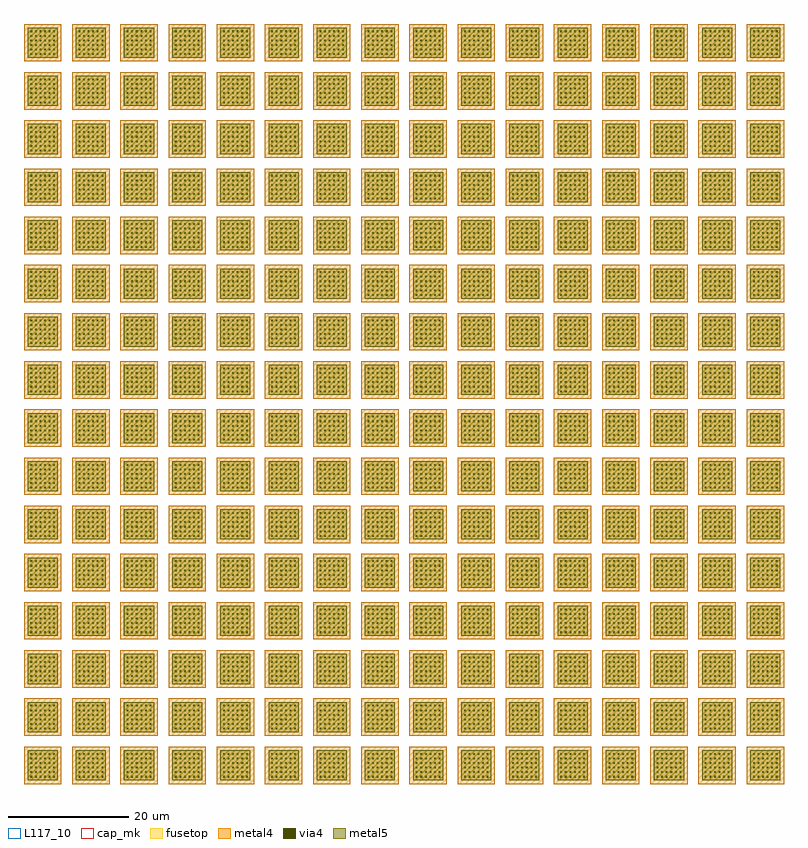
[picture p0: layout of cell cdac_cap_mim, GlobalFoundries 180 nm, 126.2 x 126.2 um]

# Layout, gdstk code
import gdstk
lib = gdstk.Library(unit=1e-6, precision=1e-09)
def R(c, l, rs):  # rectangles x0, y0, x1, y1
    for r in rs: c.add(gdstk.rectangle(r[:2], r[2:], *l))
def A(c, l, x, y, w, h, nx, ny, dx, dy):  # array of equal rectangles
    R(c, l, [(x+i*dx, y+j*dy, x+i*dx+w, y+j*dy+h) for i in range(nx) for j in range(ny)])
via4 = (41, 0)
metal4 = (46, 0)
fusetop = (75, 0)
metal5 = (81, 0)
cap_mk = (117, 5)
L117_10 = (117, 10)

gf180mcu_cap_mim_l_10_00 = lib.new_cell('gf180mcu.cap_mim(L=10.000,W=10.000)')

cdac_cap_mim = lib.new_cell('cdac_cap_mim')
A(cdac_cap_mim, via4, 208.24, 137.25, 0.26, 0.26, 6, 6, 0.76, 0.76)
A(cdac_cap_mim, via4, 216.24, 137.25, 0.26, 0.26, 6, 6, 0.76, 0.76)
A(cdac_cap_mim, via4, 224.24, 137.25, 0.26, 0.26, 6, 6, 0.76, 0.76)
A(cdac_cap_mim, via4, 232.24, 137.25, 0.26, 0.26, 6, 6, 0.76, 0.76)
A(cdac_cap_mim, via4, 240.24, 137.25, 0.26, 0.26, 6, 6, 0.76, 0.76)
A(cdac_cap_mim, via4, 248.24, 137.25, 0.26, 0.26, 6, 6, 0.76, 0.76)
A(cdac_cap_mim, via4, 256.24, 137.25, 0.26, 0.26, 6, 6, 0.76, 0.76)
A(cdac_cap_mim, via4, 264.24, 137.25, 0.26, 0.26, 6, 6, 0.76, 0.76)
A(cdac_cap_mim, via4, 272.24, 137.25, 0.26, 0.26, 6, 6, 0.76, 0.76)
A(cdac_cap_mim, via4, 280.24, 137.25, 0.26, 0.26, 6, 6, 0.76, 0.76)
A(cdac_cap_mim, via4, 288.24, 137.25, 0.26, 0.26, 6, 6, 0.76, 0.76)
A(cdac_cap_mim, via4, 296.24, 137.25, 0.26, 0.26, 6, 6, 0.76, 0.76)
A(cdac_cap_mim, via4, 304.24, 137.25, 0.26, 0.26, 6, 6, 0.76, 0.76)
A(cdac_cap_mim, via4, 312.24, 137.25, 0.26, 0.26, 6, 6, 0.76, 0.76)
A(cdac_cap_mim, via4, 320.24, 137.25, 0.26, 0.26, 6, 6, 0.76, 0.76)
A(cdac_cap_mim, via4, 328.24, 137.25, 0.26, 0.26, 6, 6, 0.76, 0.76)
A(cdac_cap_mim, via4, 208.24, 145.25, 0.26, 0.26, 6, 6, 0.76, 0.76)
A(cdac_cap_mim, via4, 216.24, 145.25, 0.26, 0.26, 6, 6, 0.76, 0.76)
A(cdac_cap_mim, via4, 224.24, 145.25, 0.26, 0.26, 6, 6, 0.76, 0.76)
A(cdac_cap_mim, via4, 232.24, 145.25, 0.26, 0.26, 6, 6, 0.76, 0.76)
A(cdac_cap_mim, via4, 240.24, 145.25, 0.26, 0.26, 6, 6, 0.76, 0.76)
A(cdac_cap_mim, via4, 248.24, 145.25, 0.26, 0.26, 6, 6, 0.76, 0.76)
A(cdac_cap_mim, via4, 256.24, 145.25, 0.26, 0.26, 6, 6, 0.76, 0.76)
A(cdac_cap_mim, via4, 264.24, 145.25, 0.26, 0.26, 6, 6, 0.76, 0.76)
A(cdac_cap_mim, via4, 272.24, 145.25, 0.26, 0.26, 6, 6, 0.76, 0.76)
A(cdac_cap_mim, via4, 280.24, 145.25, 0.26, 0.26, 6, 6, 0.76, 0.76)
A(cdac_cap_mim, via4, 288.24, 145.25, 0.26, 0.26, 6, 6, 0.76, 0.76)
A(cdac_cap_mim, via4, 296.24, 145.25, 0.26, 0.26, 6, 6, 0.76, 0.76)
A(cdac_cap_mim, via4, 304.24, 145.25, 0.26, 0.26, 6, 6, 0.76, 0.76)
A(cdac_cap_mim, via4, 312.24, 145.25, 0.26, 0.26, 6, 6, 0.76, 0.76)
A(cdac_cap_mim, via4, 320.24, 145.25, 0.26, 0.26, 6, 6, 0.76, 0.76)
A(cdac_cap_mim, via4, 328.24, 145.25, 0.26, 0.26, 6, 6, 0.76, 0.76)
A(cdac_cap_mim, via4, 208.24, 153.25, 0.26, 0.26, 6, 6, 0.76, 0.76)
A(cdac_cap_mim, via4, 216.24, 153.25, 0.26, 0.26, 6, 6, 0.76, 0.76)
A(cdac_cap_mim, via4, 224.24, 153.25, 0.26, 0.26, 6, 6, 0.76, 0.76)
A(cdac_cap_mim, via4, 232.24, 153.25, 0.26, 0.26, 6, 6, 0.76, 0.76)
A(cdac_cap_mim, via4, 240.24, 153.25, 0.26, 0.26, 6, 6, 0.76, 0.76)
A(cdac_cap_mim, via4, 248.24, 153.25, 0.26, 0.26, 6, 6, 0.76, 0.76)
A(cdac_cap_mim, via4, 256.24, 153.25, 0.26, 0.26, 6, 6, 0.76, 0.76)
A(cdac_cap_mim, via4, 264.24, 153.25, 0.26, 0.26, 6, 6, 0.76, 0.76)
A(cdac_cap_mim, via4, 272.24, 153.25, 0.26, 0.26, 6, 6, 0.76, 0.76)
A(cdac_cap_mim, via4, 280.24, 153.25, 0.26, 0.26, 6, 6, 0.76, 0.76)
A(cdac_cap_mim, via4, 288.24, 153.25, 0.26, 0.26, 6, 6, 0.76, 0.76)
A(cdac_cap_mim, via4, 296.24, 153.25, 0.26, 0.26, 6, 6, 0.76, 0.76)
A(cdac_cap_mim, via4, 304.24, 153.25, 0.26, 0.26, 6, 6, 0.76, 0.76)
A(cdac_cap_mim, via4, 312.24, 153.25, 0.26, 0.26, 6, 6, 0.76, 0.76)
A(cdac_cap_mim, via4, 320.24, 153.25, 0.26, 0.26, 6, 6, 0.76, 0.76)
A(cdac_cap_mim, via4, 328.24, 153.25, 0.26, 0.26, 6, 6, 0.76, 0.76)
A(cdac_cap_mim, via4, 208.24, 161.25, 0.26, 0.26, 6, 6, 0.76, 0.76)
A(cdac_cap_mim, via4, 216.24, 161.25, 0.26, 0.26, 6, 6, 0.76, 0.76)
A(cdac_cap_mim, via4, 224.24, 161.25, 0.26, 0.26, 6, 6, 0.76, 0.76)
A(cdac_cap_mim, via4, 232.24, 161.25, 0.26, 0.26, 6, 6, 0.76, 0.76)
A(cdac_cap_mim, via4, 240.24, 161.25, 0.26, 0.26, 6, 6, 0.76, 0.76)
A(cdac_cap_mim, via4, 248.24, 161.25, 0.26, 0.26, 6, 6, 0.76, 0.76)
A(cdac_cap_mim, via4, 256.24, 161.25, 0.26, 0.26, 6, 6, 0.76, 0.76)
A(cdac_cap_mim, via4, 264.24, 161.25, 0.26, 0.26, 6, 6, 0.76, 0.76)
A(cdac_cap_mim, via4, 272.24, 161.25, 0.26, 0.26, 6, 6, 0.76, 0.76)
A(cdac_cap_mim, via4, 280.24, 161.25, 0.26, 0.26, 6, 6, 0.76, 0.76)
A(cdac_cap_mim, via4, 288.24, 161.25, 0.26, 0.26, 6, 6, 0.76, 0.76)
A(cdac_cap_mim, via4, 296.24, 161.25, 0.26, 0.26, 6, 6, 0.76, 0.76)
A(cdac_cap_mim, via4, 304.24, 161.25, 0.26, 0.26, 6, 6, 0.76, 0.76)
A(cdac_cap_mim, via4, 312.24, 161.25, 0.26, 0.26, 6, 6, 0.76, 0.76)
A(cdac_cap_mim, via4, 320.24, 161.25, 0.26, 0.26, 6, 6, 0.76, 0.76)
A(cdac_cap_mim, via4, 328.24, 161.25, 0.26, 0.26, 6, 6, 0.76, 0.76)
A(cdac_cap_mim, via4, 208.24, 169.25, 0.26, 0.26, 6, 6, 0.76, 0.76)
A(cdac_cap_mim, via4, 216.24, 169.25, 0.26, 0.26, 6, 6, 0.76, 0.76)
A(cdac_cap_mim, via4, 224.24, 169.25, 0.26, 0.26, 6, 6, 0.76, 0.76)
A(cdac_cap_mim, via4, 232.24, 169.25, 0.26, 0.26, 6, 6, 0.76, 0.76)
A(cdac_cap_mim, via4, 240.24, 169.25, 0.26, 0.26, 6, 6, 0.76, 0.76)
A(cdac_cap_mim, via4, 248.24, 169.25, 0.26, 0.26, 6, 6, 0.76, 0.76)
A(cdac_cap_mim, via4, 256.24, 169.25, 0.26, 0.26, 6, 6, 0.76, 0.76)
A(cdac_cap_mim, via4, 264.24, 169.25, 0.26, 0.26, 6, 6, 0.76, 0.76)
A(cdac_cap_mim, via4, 272.24, 169.25, 0.26, 0.26, 6, 6, 0.76, 0.76)
A(cdac_cap_mim, via4, 280.24, 169.25, 0.26, 0.26, 6, 6, 0.76, 0.76)
A(cdac_cap_mim, via4, 288.24, 169.25, 0.26, 0.26, 6, 6, 0.76, 0.76)
A(cdac_cap_mim, via4, 296.24, 169.25, 0.26, 0.26, 6, 6, 0.76, 0.76)
A(cdac_cap_mim, via4, 304.24, 169.25, 0.26, 0.26, 6, 6, 0.76, 0.76)
A(cdac_cap_mim, via4, 312.24, 169.25, 0.26, 0.26, 6, 6, 0.76, 0.76)
A(cdac_cap_mim, via4, 320.24, 169.25, 0.26, 0.26, 6, 6, 0.76, 0.76)
A(cdac_cap_mim, via4, 328.24, 169.25, 0.26, 0.26, 6, 6, 0.76, 0.76)
A(cdac_cap_mim, via4, 208.24, 177.25, 0.26, 0.26, 6, 6, 0.76, 0.76)
A(cdac_cap_mim, via4, 216.24, 177.25, 0.26, 0.26, 6, 6, 0.76, 0.76)
A(cdac_cap_mim, via4, 224.24, 177.25, 0.26, 0.26, 6, 6, 0.76, 0.76)
A(cdac_cap_mim, via4, 232.24, 177.25, 0.26, 0.26, 6, 6, 0.76, 0.76)
A(cdac_cap_mim, via4, 240.24, 177.25, 0.26, 0.26, 6, 6, 0.76, 0.76)
A(cdac_cap_mim, via4, 248.24, 177.25, 0.26, 0.26, 6, 6, 0.76, 0.76)
A(cdac_cap_mim, via4, 256.24, 177.25, 0.26, 0.26, 6, 6, 0.76, 0.76)
A(cdac_cap_mim, via4, 264.24, 177.25, 0.26, 0.26, 6, 6, 0.76, 0.76)
A(cdac_cap_mim, via4, 272.24, 177.25, 0.26, 0.26, 6, 6, 0.76, 0.76)
A(cdac_cap_mim, via4, 280.24, 177.25, 0.26, 0.26, 6, 6, 0.76, 0.76)
A(cdac_cap_mim, via4, 288.24, 177.25, 0.26, 0.26, 6, 6, 0.76, 0.76)
A(cdac_cap_mim, via4, 296.24, 177.25, 0.26, 0.26, 6, 6, 0.76, 0.76)
A(cdac_cap_mim, via4, 304.24, 177.25, 0.26, 0.26, 6, 6, 0.76, 0.76)
A(cdac_cap_mim, via4, 312.24, 177.25, 0.26, 0.26, 6, 6, 0.76, 0.76)
A(cdac_cap_mim, via4, 320.24, 177.25, 0.26, 0.26, 6, 6, 0.76, 0.76)
A(cdac_cap_mim, via4, 328.24, 177.25, 0.26, 0.26, 6, 6, 0.76, 0.76)
A(cdac_cap_mim, via4, 208.24, 185.25, 0.26, 0.26, 6, 6, 0.76, 0.76)
A(cdac_cap_mim, via4, 216.24, 185.25, 0.26, 0.26, 6, 6, 0.76, 0.76)
A(cdac_cap_mim, via4, 224.24, 185.25, 0.26, 0.26, 6, 6, 0.76, 0.76)
A(cdac_cap_mim, via4, 232.24, 185.25, 0.26, 0.26, 6, 6, 0.76, 0.76)
A(cdac_cap_mim, via4, 240.24, 185.25, 0.26, 0.26, 6, 6, 0.76, 0.76)
A(cdac_cap_mim, via4, 248.24, 185.25, 0.26, 0.26, 6, 6, 0.76, 0.76)
A(cdac_cap_mim, via4, 256.24, 185.25, 0.26, 0.26, 6, 6, 0.76, 0.76)
A(cdac_cap_mim, via4, 264.24, 185.25, 0.26, 0.26, 6, 6, 0.76, 0.76)
A(cdac_cap_mim, via4, 272.24, 185.25, 0.26, 0.26, 6, 6, 0.76, 0.76)
A(cdac_cap_mim, via4, 280.24, 185.25, 0.26, 0.26, 6, 6, 0.76, 0.76)
A(cdac_cap_mim, via4, 288.24, 185.25, 0.26, 0.26, 6, 6, 0.76, 0.76)
A(cdac_cap_mim, via4, 296.24, 185.25, 0.26, 0.26, 6, 6, 0.76, 0.76)
A(cdac_cap_mim, via4, 304.24, 185.25, 0.26, 0.26, 6, 6, 0.76, 0.76)
A(cdac_cap_mim, via4, 312.24, 185.25, 0.26, 0.26, 6, 6, 0.76, 0.76)
A(cdac_cap_mim, via4, 320.24, 185.25, 0.26, 0.26, 6, 6, 0.76, 0.76)
A(cdac_cap_mim, via4, 328.24, 185.25, 0.26, 0.26, 6, 6, 0.76, 0.76)
A(cdac_cap_mim, via4, 208.24, 193.25, 0.26, 0.26, 6, 6, 0.76, 0.76)
A(cdac_cap_mim, via4, 216.24, 193.25, 0.26, 0.26, 6, 6, 0.76, 0.76)
A(cdac_cap_mim, via4, 224.24, 193.25, 0.26, 0.26, 6, 6, 0.76, 0.76)
A(cdac_cap_mim, via4, 232.24, 193.25, 0.26, 0.26, 6, 6, 0.76, 0.76)
A(cdac_cap_mim, via4, 240.24, 193.25, 0.26, 0.26, 6, 6, 0.76, 0.76)
A(cdac_cap_mim, via4, 248.24, 193.25, 0.26, 0.26, 6, 6, 0.76, 0.76)
A(cdac_cap_mim, via4, 256.24, 193.25, 0.26, 0.26, 6, 6, 0.76, 0.76)
A(cdac_cap_mim, via4, 264.24, 193.25, 0.26, 0.26, 6, 6, 0.76, 0.76)
A(cdac_cap_mim, via4, 272.24, 193.25, 0.26, 0.26, 6, 6, 0.76, 0.76)
A(cdac_cap_mim, via4, 280.24, 193.25, 0.26, 0.26, 6, 6, 0.76, 0.76)
A(cdac_cap_mim, via4, 288.24, 193.25, 0.26, 0.26, 6, 6, 0.76, 0.76)
A(cdac_cap_mim, via4, 296.24, 193.25, 0.26, 0.26, 6, 6, 0.76, 0.76)
A(cdac_cap_mim, via4, 304.24, 193.25, 0.26, 0.26, 6, 6, 0.76, 0.76)
A(cdac_cap_mim, via4, 312.24, 193.25, 0.26, 0.26, 6, 6, 0.76, 0.76)
A(cdac_cap_mim, via4, 320.24, 193.25, 0.26, 0.26, 6, 6, 0.76, 0.76)
A(cdac_cap_mim, via4, 328.24, 193.25, 0.26, 0.26, 6, 6, 0.76, 0.76)
A(cdac_cap_mim, via4, 208.24, 201.25, 0.26, 0.26, 6, 6, 0.76, 0.76)
A(cdac_cap_mim, via4, 216.24, 201.25, 0.26, 0.26, 6, 6, 0.76, 0.76)
A(cdac_cap_mim, via4, 224.24, 201.25, 0.26, 0.26, 6, 6, 0.76, 0.76)
A(cdac_cap_mim, via4, 232.24, 201.25, 0.26, 0.26, 6, 6, 0.76, 0.76)
A(cdac_cap_mim, via4, 240.24, 201.25, 0.26, 0.26, 6, 6, 0.76, 0.76)
A(cdac_cap_mim, via4, 248.24, 201.25, 0.26, 0.26, 6, 6, 0.76, 0.76)
A(cdac_cap_mim, via4, 256.24, 201.25, 0.26, 0.26, 6, 6, 0.76, 0.76)
A(cdac_cap_mim, via4, 264.24, 201.25, 0.26, 0.26, 6, 6, 0.76, 0.76)
A(cdac_cap_mim, via4, 272.24, 201.25, 0.26, 0.26, 6, 6, 0.76, 0.76)
A(cdac_cap_mim, via4, 280.24, 201.25, 0.26, 0.26, 6, 6, 0.76, 0.76)
A(cdac_cap_mim, via4, 288.24, 201.25, 0.26, 0.26, 6, 6, 0.76, 0.76)
A(cdac_cap_mim, via4, 296.24, 201.25, 0.26, 0.26, 6, 6, 0.76, 0.76)
A(cdac_cap_mim, via4, 304.24, 201.25, 0.26, 0.26, 6, 6, 0.76, 0.76)
A(cdac_cap_mim, via4, 312.24, 201.25, 0.26, 0.26, 6, 6, 0.76, 0.76)
A(cdac_cap_mim, via4, 320.24, 201.25, 0.26, 0.26, 6, 6, 0.76, 0.76)
A(cdac_cap_mim, via4, 328.24, 201.25, 0.26, 0.26, 6, 6, 0.76, 0.76)
A(cdac_cap_mim, via4, 208.24, 209.25, 0.26, 0.26, 6, 6, 0.76, 0.76)
A(cdac_cap_mim, via4, 216.24, 209.25, 0.26, 0.26, 6, 6, 0.76, 0.76)
A(cdac_cap_mim, via4, 224.24, 209.25, 0.26, 0.26, 6, 6, 0.76, 0.76)
A(cdac_cap_mim, via4, 232.24, 209.25, 0.26, 0.26, 6, 6, 0.76, 0.76)
A(cdac_cap_mim, via4, 240.24, 209.25, 0.26, 0.26, 6, 6, 0.76, 0.76)
A(cdac_cap_mim, via4, 248.24, 209.25, 0.26, 0.26, 6, 6, 0.76, 0.76)
A(cdac_cap_mim, via4, 256.24, 209.25, 0.26, 0.26, 6, 6, 0.76, 0.76)
A(cdac_cap_mim, via4, 264.24, 209.25, 0.26, 0.26, 6, 6, 0.76, 0.76)
A(cdac_cap_mim, via4, 272.24, 209.25, 0.26, 0.26, 6, 6, 0.76, 0.76)
A(cdac_cap_mim, via4, 280.24, 209.25, 0.26, 0.26, 6, 6, 0.76, 0.76)
A(cdac_cap_mim, via4, 288.24, 209.25, 0.26, 0.26, 6, 6, 0.76, 0.76)
A(cdac_cap_mim, via4, 296.24, 209.25, 0.26, 0.26, 6, 6, 0.76, 0.76)
A(cdac_cap_mim, via4, 304.24, 209.25, 0.26, 0.26, 6, 6, 0.76, 0.76)
A(cdac_cap_mim, via4, 312.24, 209.25, 0.26, 0.26, 6, 6, 0.76, 0.76)
A(cdac_cap_mim, via4, 320.24, 209.25, 0.26, 0.26, 6, 6, 0.76, 0.76)
A(cdac_cap_mim, via4, 328.24, 209.25, 0.26, 0.26, 6, 6, 0.76, 0.76)
A(cdac_cap_mim, via4, 208.24, 217.25, 0.26, 0.26, 6, 6, 0.76, 0.76)
A(cdac_cap_mim, via4, 216.24, 217.25, 0.26, 0.26, 6, 6, 0.76, 0.76)
A(cdac_cap_mim, via4, 224.24, 217.25, 0.26, 0.26, 6, 6, 0.76, 0.76)
A(cdac_cap_mim, via4, 232.24, 217.25, 0.26, 0.26, 6, 6, 0.76, 0.76)
A(cdac_cap_mim, via4, 240.24, 217.25, 0.26, 0.26, 6, 6, 0.76, 0.76)
A(cdac_cap_mim, via4, 248.24, 217.25, 0.26, 0.26, 6, 6, 0.76, 0.76)
A(cdac_cap_mim, via4, 256.24, 217.25, 0.26, 0.26, 6, 6, 0.76, 0.76)
A(cdac_cap_mim, via4, 264.24, 217.25, 0.26, 0.26, 6, 6, 0.76, 0.76)
A(cdac_cap_mim, via4, 272.24, 217.25, 0.26, 0.26, 6, 6, 0.76, 0.76)
A(cdac_cap_mim, via4, 280.24, 217.25, 0.26, 0.26, 6, 6, 0.76, 0.76)
A(cdac_cap_mim, via4, 288.24, 217.25, 0.26, 0.26, 6, 6, 0.76, 0.76)
A(cdac_cap_mim, via4, 296.24, 217.25, 0.26, 0.26, 6, 6, 0.76, 0.76)
A(cdac_cap_mim, via4, 304.24, 217.25, 0.26, 0.26, 6, 6, 0.76, 0.76)
A(cdac_cap_mim, via4, 312.24, 217.25, 0.26, 0.26, 6, 6, 0.76, 0.76)
A(cdac_cap_mim, via4, 320.24, 217.25, 0.26, 0.26, 6, 6, 0.76, 0.76)
A(cdac_cap_mim, via4, 328.24, 217.25, 0.26, 0.26, 6, 6, 0.76, 0.76)
A(cdac_cap_mim, via4, 208.24, 225.25, 0.26, 0.26, 6, 6, 0.76, 0.76)
A(cdac_cap_mim, via4, 216.24, 225.25, 0.26, 0.26, 6, 6, 0.76, 0.76)
A(cdac_cap_mim, via4, 224.24, 225.25, 0.26, 0.26, 6, 6, 0.76, 0.76)
A(cdac_cap_mim, via4, 232.24, 225.25, 0.26, 0.26, 6, 6, 0.76, 0.76)
A(cdac_cap_mim, via4, 240.24, 225.25, 0.26, 0.26, 6, 6, 0.76, 0.76)
A(cdac_cap_mim, via4, 248.24, 225.25, 0.26, 0.26, 6, 6, 0.76, 0.76)
A(cdac_cap_mim, via4, 256.24, 225.25, 0.26, 0.26, 6, 6, 0.76, 0.76)
A(cdac_cap_mim, via4, 264.24, 225.25, 0.26, 0.26, 6, 6, 0.76, 0.76)
A(cdac_cap_mim, via4, 272.24, 225.25, 0.26, 0.26, 6, 6, 0.76, 0.76)
A(cdac_cap_mim, via4, 280.24, 225.25, 0.26, 0.26, 6, 6, 0.76, 0.76)
A(cdac_cap_mim, via4, 288.24, 225.25, 0.26, 0.26, 6, 6, 0.76, 0.76)
A(cdac_cap_mim, via4, 296.24, 225.25, 0.26, 0.26, 6, 6, 0.76, 0.76)
A(cdac_cap_mim, via4, 304.24, 225.25, 0.26, 0.26, 6, 6, 0.76, 0.76)
A(cdac_cap_mim, via4, 312.24, 225.25, 0.26, 0.26, 6, 6, 0.76, 0.76)
A(cdac_cap_mim, via4, 320.24, 225.25, 0.26, 0.26, 6, 6, 0.76, 0.76)
A(cdac_cap_mim, via4, 328.24, 225.25, 0.26, 0.26, 6, 6, 0.76, 0.76)
A(cdac_cap_mim, via4, 208.24, 233.25, 0.26, 0.26, 6, 6, 0.76, 0.76)
A(cdac_cap_mim, via4, 216.24, 233.25, 0.26, 0.26, 6, 6, 0.76, 0.76)
A(cdac_cap_mim, via4, 224.24, 233.25, 0.26, 0.26, 6, 6, 0.76, 0.76)
A(cdac_cap_mim, via4, 232.24, 233.25, 0.26, 0.26, 6, 6, 0.76, 0.76)
A(cdac_cap_mim, via4, 240.24, 233.25, 0.26, 0.26, 6, 6, 0.76, 0.76)
A(cdac_cap_mim, via4, 248.24, 233.25, 0.26, 0.26, 6, 6, 0.76, 0.76)
A(cdac_cap_mim, via4, 256.24, 233.25, 0.26, 0.26, 6, 6, 0.76, 0.76)
A(cdac_cap_mim, via4, 264.24, 233.25, 0.26, 0.26, 6, 6, 0.76, 0.76)
A(cdac_cap_mim, via4, 272.24, 233.25, 0.26, 0.26, 6, 6, 0.76, 0.76)
A(cdac_cap_mim, via4, 280.24, 233.25, 0.26, 0.26, 6, 6, 0.76, 0.76)
A(cdac_cap_mim, via4, 288.24, 233.25, 0.26, 0.26, 6, 6, 0.76, 0.76)
A(cdac_cap_mim, via4, 296.24, 233.25, 0.26, 0.26, 6, 6, 0.76, 0.76)
A(cdac_cap_mim, via4, 304.24, 233.25, 0.26, 0.26, 6, 6, 0.76, 0.76)
A(cdac_cap_mim, via4, 312.24, 233.25, 0.26, 0.26, 6, 6, 0.76, 0.76)
A(cdac_cap_mim, via4, 320.24, 233.25, 0.26, 0.26, 6, 6, 0.76, 0.76)
A(cdac_cap_mim, via4, 328.24, 233.25, 0.26, 0.26, 6, 6, 0.76, 0.76)
A(cdac_cap_mim, via4, 208.24, 241.25, 0.26, 0.26, 6, 6, 0.76, 0.76)
A(cdac_cap_mim, via4, 216.24, 241.25, 0.26, 0.26, 6, 6, 0.76, 0.76)
A(cdac_cap_mim, via4, 224.24, 241.25, 0.26, 0.26, 6, 6, 0.76, 0.76)
A(cdac_cap_mim, via4, 232.24, 241.25, 0.26, 0.26, 6, 6, 0.76, 0.76)
A(cdac_cap_mim, via4, 240.24, 241.25, 0.26, 0.26, 6, 6, 0.76, 0.76)
A(cdac_cap_mim, via4, 248.24, 241.25, 0.26, 0.26, 6, 6, 0.76, 0.76)
A(cdac_cap_mim, via4, 256.24, 241.25, 0.26, 0.26, 6, 6, 0.76, 0.76)
A(cdac_cap_mim, via4, 264.24, 241.25, 0.26, 0.26, 6, 6, 0.76, 0.76)
A(cdac_cap_mim, via4, 272.24, 241.25, 0.26, 0.26, 6, 6, 0.76, 0.76)
A(cdac_cap_mim, via4, 280.24, 241.25, 0.26, 0.26, 6, 6, 0.76, 0.76)
A(cdac_cap_mim, via4, 288.24, 241.25, 0.26, 0.26, 6, 6, 0.76, 0.76)
A(cdac_cap_mim, via4, 296.24, 241.25, 0.26, 0.26, 6, 6, 0.76, 0.76)
A(cdac_cap_mim, via4, 304.24, 241.25, 0.26, 0.26, 6, 6, 0.76, 0.76)
A(cdac_cap_mim, via4, 312.24, 241.25, 0.26, 0.26, 6, 6, 0.76, 0.76)
A(cdac_cap_mim, via4, 320.24, 241.25, 0.26, 0.26, 6, 6, 0.76, 0.76)
A(cdac_cap_mim, via4, 328.24, 241.25, 0.26, 0.26, 6, 6, 0.76, 0.76)
A(cdac_cap_mim, via4, 208.24, 249.25, 0.26, 0.26, 6, 6, 0.76, 0.76)
A(cdac_cap_mim, via4, 216.24, 249.25, 0.26, 0.26, 6, 6, 0.76, 0.76)
A(cdac_cap_mim, via4, 224.24, 249.25, 0.26, 0.26, 6, 6, 0.76, 0.76)
A(cdac_cap_mim, via4, 232.24, 249.25, 0.26, 0.26, 6, 6, 0.76, 0.76)
A(cdac_cap_mim, via4, 240.24, 249.25, 0.26, 0.26, 6, 6, 0.76, 0.76)
A(cdac_cap_mim, via4, 248.24, 249.25, 0.26, 0.26, 6, 6, 0.76, 0.76)
A(cdac_cap_mim, via4, 256.24, 249.25, 0.26, 0.26, 6, 6, 0.76, 0.76)
A(cdac_cap_mim, via4, 264.24, 249.25, 0.26, 0.26, 6, 6, 0.76, 0.76)
A(cdac_cap_mim, via4, 272.24, 249.25, 0.26, 0.26, 6, 6, 0.76, 0.76)
A(cdac_cap_mim, via4, 280.24, 249.25, 0.26, 0.26, 6, 6, 0.76, 0.76)
A(cdac_cap_mim, via4, 288.24, 249.25, 0.26, 0.26, 6, 6, 0.76, 0.76)
A(cdac_cap_mim, via4, 296.24, 249.25, 0.26, 0.26, 6, 6, 0.76, 0.76)
A(cdac_cap_mim, via4, 304.24, 249.25, 0.26, 0.26, 6, 6, 0.76, 0.76)
A(cdac_cap_mim, via4, 312.24, 249.25, 0.26, 0.26, 6, 6, 0.76, 0.76)
A(cdac_cap_mim, via4, 320.24, 249.25, 0.26, 0.26, 6, 6, 0.76, 0.76)
A(cdac_cap_mim, via4, 328.24, 249.25, 0.26, 0.26, 6, 6, 0.76, 0.76)
A(cdac_cap_mim, via4, 208.24, 257.25, 0.26, 0.26, 6, 6, 0.76, 0.76)
A(cdac_cap_mim, via4, 216.24, 257.25, 0.26, 0.26, 6, 6, 0.76, 0.76)
A(cdac_cap_mim, via4, 224.24, 257.25, 0.26, 0.26, 6, 6, 0.76, 0.76)
A(cdac_cap_mim, via4, 232.24, 257.25, 0.26, 0.26, 6, 6, 0.76, 0.76)
A(cdac_cap_mim, via4, 240.24, 257.25, 0.26, 0.26, 6, 6, 0.76, 0.76)
A(cdac_cap_mim, via4, 248.24, 257.25, 0.26, 0.26, 6, 6, 0.76, 0.76)
A(cdac_cap_mim, via4, 256.24, 257.25, 0.26, 0.26, 6, 6, 0.76, 0.76)
A(cdac_cap_mim, via4, 264.24, 257.25, 0.26, 0.26, 6, 6, 0.76, 0.76)
A(cdac_cap_mim, via4, 272.24, 257.25, 0.26, 0.26, 6, 6, 0.76, 0.76)
A(cdac_cap_mim, via4, 280.24, 257.25, 0.26, 0.26, 6, 6, 0.76, 0.76)
A(cdac_cap_mim, via4, 288.24, 257.25, 0.26, 0.26, 6, 6, 0.76, 0.76)
A(cdac_cap_mim, via4, 296.24, 257.25, 0.26, 0.26, 6, 6, 0.76, 0.76)
A(cdac_cap_mim, via4, 304.24, 257.25, 0.26, 0.26, 6, 6, 0.76, 0.76)
A(cdac_cap_mim, via4, 312.24, 257.25, 0.26, 0.26, 6, 6, 0.76, 0.76)
A(cdac_cap_mim, via4, 320.24, 257.25, 0.26, 0.26, 6, 6, 0.76, 0.76)
A(cdac_cap_mim, via4, 328.24, 257.25, 0.26, 0.26, 6, 6, 0.76, 0.76)
A(cdac_cap_mim, metal4, 207.17, 136.18, 6.2, 6.2, 16, 16, 8, 8)
A(cdac_cap_mim, fusetop, 207.77, 136.78, 5, 5, 16, 16, 8, 8)
A(cdac_cap_mim, metal5, 207.77, 136.78, 5, 5, 16, 16, 8, 8)
A(cdac_cap_mim, cap_mk, 207.17, 136.18, 6.2, 6.2, 16, 16, 8, 8)
A(cdac_cap_mim, L117_10, 207.77, 136.78, 0.1, 5, 16, 16, 8, 8)
cdac_cap_mim.add(gdstk.Reference(gf180mcu_cap_mim_l_10_00, (0,0)))

lib.write_gds('cdac_cap_mim.gds')
